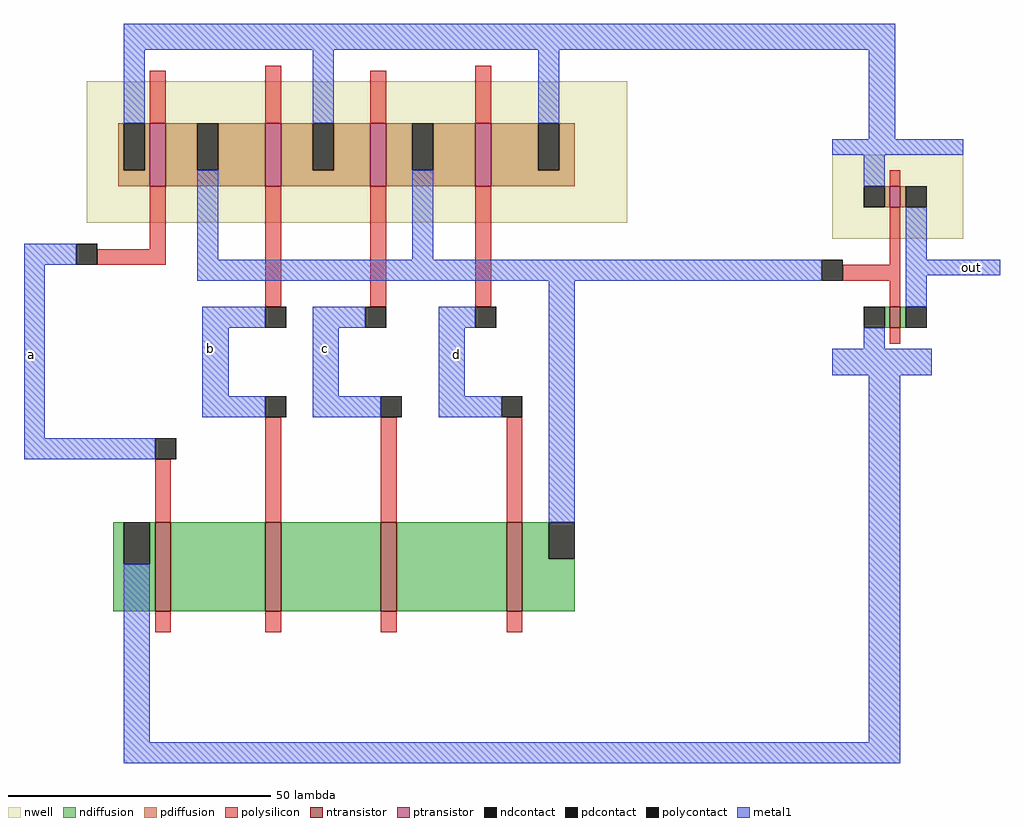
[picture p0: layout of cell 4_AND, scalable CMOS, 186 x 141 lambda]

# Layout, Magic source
magic
tech scmos
<< nwell >>
rect -48 8 55 35
rect 94 5 119 21
<< ntransistor >>
rect 105 -12 107 -8
rect -35 -66 -32 -49
rect -14 -66 -11 -49
rect 8 -66 11 -49
rect 32 -66 35 -49
<< ptransistor >>
rect -36 15 -33 27
rect -14 15 -11 27
rect 6 15 9 27
rect 26 15 29 27
rect 105 11 107 15
<< ndiffusion >>
rect 104 -12 105 -8
rect 107 -12 108 -8
rect -43 -57 -41 -49
rect -36 -57 -35 -49
rect -43 -66 -35 -57
rect -32 -66 -14 -49
rect -11 -66 8 -49
rect 11 -66 32 -49
rect 35 -56 40 -49
rect 35 -66 45 -56
<< pdiffusion >>
rect -42 18 -41 27
rect -37 18 -36 27
rect -42 15 -36 18
rect -33 18 -27 27
rect -23 18 -14 27
rect -33 15 -14 18
rect -11 18 -5 27
rect -1 18 6 27
rect -11 15 6 18
rect 9 18 14 27
rect 18 18 26 27
rect 9 15 26 18
rect 29 18 38 27
rect 42 18 45 27
rect 29 15 45 18
rect 104 11 105 15
rect 107 11 108 15
<< ndcontact >>
rect 100 -12 104 -8
rect 108 -12 112 -8
rect -41 -57 -36 -49
rect 40 -56 45 -49
<< pdcontact >>
rect -41 18 -37 27
rect -27 18 -23 27
rect -5 18 -1 27
rect 14 18 18 27
rect 38 18 42 27
rect 100 11 104 15
rect 108 11 112 15
<< polysilicon >>
rect -36 27 -33 37
rect -14 27 -11 38
rect 6 27 9 37
rect 26 27 29 38
rect 105 15 107 18
rect -36 3 -33 15
rect -46 0 -33 3
rect -14 -8 -11 15
rect 6 -8 9 15
rect 26 -8 29 15
rect 105 0 107 11
rect 96 -3 107 0
rect 105 -8 107 -3
rect 105 -15 107 -12
rect -35 -49 -32 -37
rect -14 -49 -11 -29
rect 8 -49 11 -29
rect 32 -49 35 -29
rect -35 -70 -32 -66
rect -14 -70 -11 -66
rect 8 -70 11 -66
rect 32 -70 35 -66
<< polycontact >>
rect -50 0 -46 4
rect -14 -12 -10 -8
rect 5 -12 9 -8
rect 92 -3 96 1
rect 26 -12 30 -8
rect -14 -29 -10 -25
rect 8 -29 12 -25
rect 31 -29 35 -25
rect -35 -37 -31 -33
<< metal1 >>
rect -41 41 106 46
rect -41 27 -37 41
rect -5 27 -1 41
rect 38 27 42 41
rect 101 24 106 41
rect 94 21 119 24
rect -60 0 -50 4
rect -27 1 -23 18
rect 14 1 18 18
rect 100 15 104 21
rect 108 1 112 11
rect -60 -33 -56 0
rect -27 -3 92 1
rect 108 -2 126 1
rect -26 -12 -14 -8
rect -5 -12 5 -8
rect 19 -12 26 -8
rect -26 -25 -21 -12
rect -5 -25 0 -12
rect 19 -25 24 -12
rect -26 -29 -14 -25
rect -5 -29 8 -25
rect 19 -29 31 -25
rect -60 -37 -35 -33
rect 40 -49 45 -3
rect 108 -8 112 -2
rect 100 -16 104 -12
rect 94 -21 113 -16
rect -41 -91 -36 -57
rect 101 -91 107 -21
rect -41 -95 107 -91
<< labels >>
rlabel metal1 -60 -20 -57 -14 3 a
rlabel metal1 -26 -19 -23 -13 1 b
rlabel metal1 -4 -19 -1 -13 1 c
rlabel metal1 21 -20 24 -14 1 d
rlabel metal1 119 -2 122 1 1 out
<< end >>
